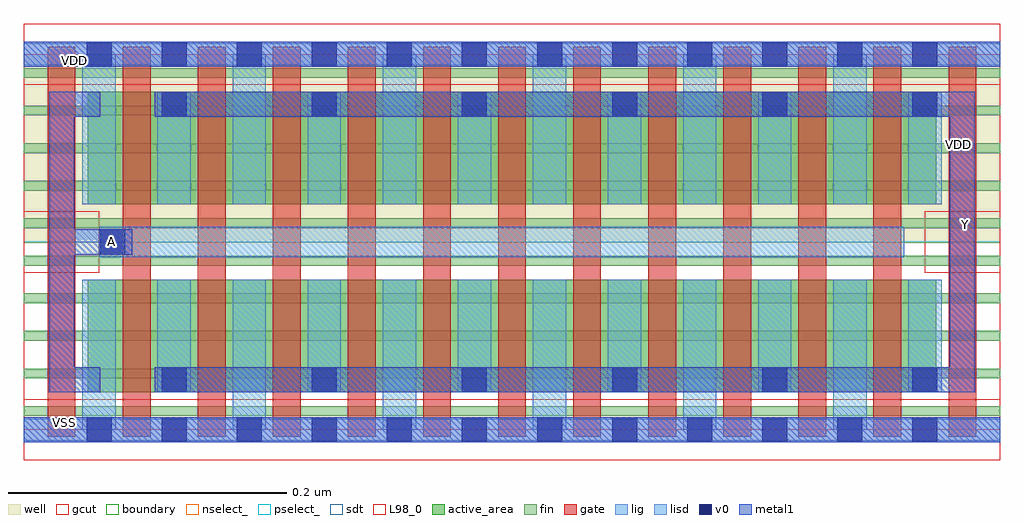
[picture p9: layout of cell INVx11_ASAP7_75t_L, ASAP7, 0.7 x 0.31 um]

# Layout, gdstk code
import gdstk
lib = gdstk.Library(unit=1e-6, precision=2.5e-10)
def R(c, l, rs):  # rectangles x0, y0, x1, y1
    for r in rs: c.add(gdstk.rectangle(r[:2], r[2:], *l))
def A(c, l, x, y, w, h, nx, ny, dx, dy):  # array of equal rectangles
    R(c, l, [(x+i*dx, y+j*dy, x+i*dx+w, y+j*dy+h) for i in range(nx) for j in range(ny)])
def P(c, l, *ps):  # polygons
    for p in ps: c.add(gdstk.Polygon(p, *l))
well = (1, 0)
fin = (2, 0)
gate = (7, 0)
gcut = (10, 0)
active_area = (11, 0)
nselect_ = (12, 0)
pselect_ = (13, 0)
lig = (16, 0)
lisd = (17, 0)
v0 = (18, 0)
metal1 = (19, 0)
sdt = (88, 0)
L98_0 = (98, 0)
boundary = (100, 0)

invx11_asap7_75t_l = lib.new_cell('INVx11_ASAP7_75t_L')
R(invx11_asap7_75t_l, well, [(0,0.135,0.702,0.27)])
A(invx11_asap7_75t_l, fin, 0, 0.01, 0.702, 0.007, 1, 10, 0, 0.027)
A(invx11_asap7_75t_l, gate, 0.017, -0.005, 0.02, 0.2805, 13, 1, 0.054, 0)
R(invx11_asap7_75t_l, gcut, [(0,-0.022,0.702,0.022), (0,0.113,0.054,0.157), (0.648,0.113,0.702,0.157), (0,0.248,0.702,0.292)])
R(invx11_asap7_75t_l, active_area, [(0.046,0.027,0.656,0.108), (0.046,0.162,0.656,0.243)])
R(invx11_asap7_75t_l, nselect_, [(0,0,0.702,0.135)])
R(invx11_asap7_75t_l, pselect_, [(0,0.135,0.702,0.27)])
R(invx11_asap7_75t_l, lig, [(0,-0.008,0.702,0.008), (0.054,0.124,0.633,0.146), (0,0.262,0.702,0.278)])
A(invx11_asap7_75t_l, lisd, 0.042, 0, 0.024, 0.108, 6, 2, 0.108, 0.162)
A(invx11_asap7_75t_l, lisd, 0.096, 0.027, 0.024, 0.081, 6, 2, 0.108, 0.135)
A(invx11_asap7_75t_l, v0, 0.045, -0.009, 0.018, 0.018, 12, 2, 0.054, 0.27)
A(invx11_asap7_75t_l, v0, 0.099, 0.027, 0.018, 0.018, 6, 2, 0.108, 0.198)
R(invx11_asap7_75t_l, v0, [(0.055,0.126,0.073,0.144)])
R(invx11_asap7_75t_l, metal1, [(0,-0.009,0.702,0.009), (0,0.261,0.702,0.279)])
P(invx11_asap7_75t_l, metal1, [(0.078,0.144),(0.036,0.144),(0.036,0.225),(0.055,0.225),(0.055,0.243),(0.018,0.243),(0.018,0.027),(0.055,0.027),(0.055,0.045),(0.036,0.045),(0.036,0.126),(0.078,0.126)],
  [(0.684,0.243),(0.094,0.243),(0.094,0.225),(0.666,0.225),(0.666,0.045),(0.094,0.045),(0.094,0.027),(0.684,0.027)])
A(invx11_asap7_75t_l, sdt, 0.042, 0.027, 0.024, 0.081, 12, 2, 0.054, 0.135)
R(invx11_asap7_75t_l, L98_0, [(0,0,0.702,0.27)])
R(invx11_asap7_75t_l, boundary, [(0,0,0.702,0.27)])
invx11_asap7_75t_l.add(gdstk.Label('VDD', (0.672,0.205), layer=1, texttype=251))
invx11_asap7_75t_l.add(gdstk.Label('VSS', (0.029,0.005), layer=19, texttype=251))
invx11_asap7_75t_l.add(gdstk.Label('VDD', (0.036,0.2655), layer=19, texttype=251))
invx11_asap7_75t_l.add(gdstk.Label('A', (0.063,0.1355), layer=19, texttype=251))
invx11_asap7_75t_l.add(gdstk.Label('Y', (0.6775,0.1475), layer=19, texttype=251))
invx11_asap7_75t_l.add(gdstk.Label('VSS', (0.741,0.204), layer=3, texttype=251))

lib.write_gds('INVx11_ASAP7_75t_L.gds')
